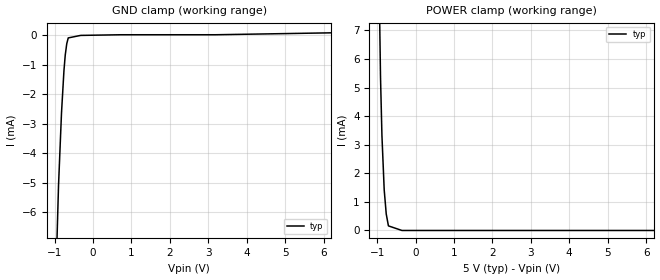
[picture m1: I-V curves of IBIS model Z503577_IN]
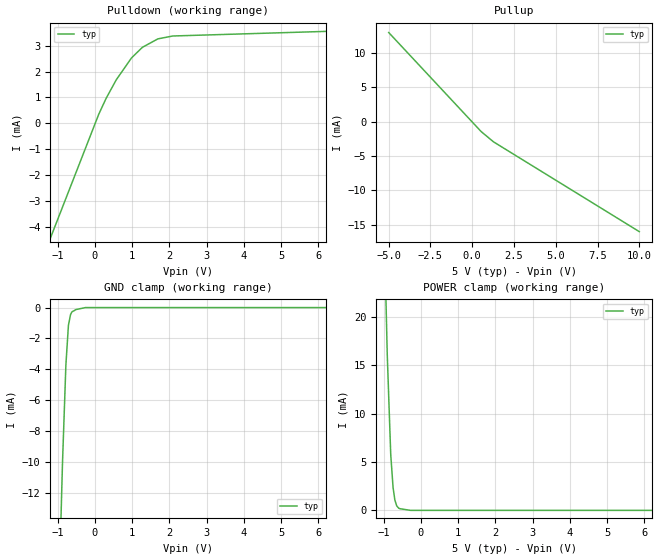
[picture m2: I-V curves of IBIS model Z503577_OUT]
| YOU ARE ONLY AUTHORIZED TO USE THIS SOFTWARE
| ACCORDING TO LICENSOR'S LICENSE RESTRICTIONS.
[IBIS Ver] 3.1
[File Name] mc14093bcp.ibs
[File Rev] 2.0
[Source] Measured and created by ICX Technology
[Date] Friday 7/14/00 9:07:53 AM
[Copyright]
| (C) COPYRIGHT 1993-2000
| MENTOR GRAPHICS CORPORATION
| ICX STANDARD LIBRARY, ICX PROJECT MODELING,
| ICX CUSTOM MODELING, ICX VENDOR MODEL
| ALL RIGHTS RESERVED.
| THE FOLLOWING ARE TRADEMARKS OR SERVICE MARKS OF
| MENTOR GRAPHICS CORPORATION:ICX (R), ICX STANDARD
| LIBRARY(R), ICX PROJECT MODELING(R), ICX CUSTOM
| MODELING(R), qualityIBIS(TM), MODELVIEWER(TM),
| AND MODELEDITOR(TM)
| ALL COPIES OF SOFTWARE, INCLUDING BUT NOT LIMITED TO
| ANY MODIFICATIONS, ENHANCEMENTS OR DERIVATIVE WORKS,
| MUST CONTAIN ALL MENTOR GRAPHICS CORPORATION'S
| NOTICES AND LEGENDS, INCLUDING THOSE EMBEDDED IN
| SOFTWARE AND THOSE AFFIXED TO SOFTWARE MEDIUM
| AND CONTAINER, AS RECEIVED FROM MENTOR GRAPHICS
| CORPORATION.
|  ZAP Model Builder 2.7
[Component] MC14093BCP
[Manufacturer] OnSemiconductor
[Package]
| variable   typ   min   max
R_pkg  .21ohms NA NA
L_pkg  4.543nH NA NA
C_pkg  1.059pF NA NA
[Pin] signal_name  model_name  R_pin  L_pin C_pin
1 IN1A Z503577_IN .22 6.757n 1.432p
2 IN2A Z503577_IN .212 4.757n 1.142p
3 OUTA Z503577_OUT .204 3.257n .852p
4 OUTB Z503577_OUT .196 2.257n .562p
5 IN1B Z503577_IN .204 3.257n .852p
6 IN2B Z503577_IN .212 4.757n 1.142p
7 VSS POWER .22 6.757n 1.432p
8 IN1C Z503577_IN .22 6.757n 1.432p
9 IN2C Z503577_IN .212 4.757n 1.142p
10 OUTC Z503577_OUT .204 3.257n .852p
11 OUTD Z503577_OUT .196 2.257n .562p
12 IN1D Z503577_IN .204 3.257n .852p
13 IN2D Z503577_IN .212 4.757n 1.142p
14 VDD POWER .22 6.757n 1.432p
| Models and submodels in the file (2): Z503577_IN (Input), Z503577_OUT (Output)
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| (C) COPYRIGHT 1993-2000
| MENTOR GRAPHICS CORPORATION
| ICX STANDARD LIBRARY, ICX PROJECT MODELING,
| ICX CUSTOM MODELING, ICX VENDOR MODEL
| ALL RIGHTS RESERVED.
| THE FOLLOWING ARE TRADEMARKS OR SERVICE MARKS OF
| MENTOR GRAPHICS CORPORATION:ICX (R), ICX STANDARD
| LIBRARY(R), ICX PROJECT MODELING(R), ICX CUSTOM
| MODELING(R), qualityIBIS(TM), MODELVIEWER(TM),
| AND MODELEDITOR(TM)
| ALL COPIES OF SOFTWARE, INCLUDING BUT NOT LIMITED TO
| ANY MODIFICATIONS, ENHANCEMENTS OR DERIVATIVE WORKS,
| MUST CONTAIN ALL MENTOR GRAPHICS CORPORATION'S
| NOTICES AND LEGENDS, INCLUDING THOSE EMBEDDED IN
| SOFTWARE AND THOSE AFFIXED TO SOFTWARE MEDIUM
| AND CONTAINER, AS RECEIVED FROM MENTOR GRAPHICS
| CORPORATION.
| Model Application Version 1.89 2/18/99.
[Model] Z503577_IN
Model_type Input
Vinl = 1.500V
Vinh = 3.500V
C_comp 4.000pF NA NA
| variable typ   min   max
[Voltage Range] 5.000V NA NA
[GND Clamp Reference] 0.000V NA NA
[POWER Clamp Reference] 5.000V NA NA
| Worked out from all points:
|   GND clamp passes 1 mA (typ) near -0.74 V on its own axis
|   POWER clamp passes 1 mA (typ) near -0.79 V on its own axis
[GND Clamp]
-5V       -241.8mA   NA         NA
-1.034V   -11.35mA   NA         NA
-897.6mV  -5.093mA   NA         NA
-820.3mV  -2.641mA   NA         NA
-756.8mV  -1.209mA   NA         NA
-722.7mV  -674.2uA   NA         NA
-683.6mV  -291.1uA   NA         NA
-644.6mV  -92.47uA   NA         NA
-322.3mV  -7.321uA   NA         NA
724.2mV   14.8uA     NA         NA
3.187V    14.8uA     NA         NA
10V       162.1uA    NA         NA
[POWER Clamp]
-5V       570.3mA    NA         NA
-1.006V   13.96mA    NA         NA
-911mV    5.38mA     NA         NA
-874mV    3.329mA    NA         NA
-815mV    1.424mA    NA         NA
-762mV    577.9uA    NA         NA
-705mV    160.6uA    NA         NA
-352.5mV  0A         NA         NA
10V       0A         NA         NA
| (C) COPYRIGHT 1993-2000
| MENTOR GRAPHICS CORPORATION
| ICX STANDARD LIBRARY, ICX PROJECT MODELING,
| ICX CUSTOM MODELING, ICX VENDOR MODEL
| ALL RIGHTS RESERVED.
| THE FOLLOWING ARE TRADEMARKS OR SERVICE MARKS OF
| MENTOR GRAPHICS CORPORATION:ICX (R), ICX STANDARD
| LIBRARY(R), ICX PROJECT MODELING(R), ICX CUSTOM
| MODELING(R), qualityIBIS(TM), MODELVIEWER(TM),
| AND MODELEDITOR(TM)
| ALL COPIES OF SOFTWARE, INCLUDING BUT NOT LIMITED TO
| ANY MODIFICATIONS, ENHANCEMENTS OR DERIVATIVE WORKS,
| MUST CONTAIN ALL MENTOR GRAPHICS CORPORATION'S
| NOTICES AND LEGENDS, INCLUDING THOSE EMBEDDED IN
| SOFTWARE AND THOSE AFFIXED TO SOFTWARE MEDIUM
| AND CONTAINER, AS RECEIVED FROM MENTOR GRAPHICS
| CORPORATION.
| Model Application Version 1.89 2/18/99.
[Model] Z503577_OUT
Model_type Output
Vref=0.000V
Rref=500.0Mohms
Cref=50.00pF
Vmeas=2.500V
C_comp 8.000pF NA NA
| variable typ   min   max
[Voltage Range] 5.000V NA NA
[POWER Clamp Reference] 5.000V NA NA
[Pullup Reference] 5.000V NA NA
[Pulldown Reference] 0.000V NA NA
[GND Clamp Reference] 0.000V NA NA
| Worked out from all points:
|   slope of the pulldown table from 0 to 0.75 V, typ, clamps not added: 362 ohm
|   slope of the pullup table from 0 to 0.75 V, typ, clamps not added: 409 ohm
|   GND clamp passes 1 mA (typ) near -0.70 V on its own axis
|   POWER clamp passes 1 mA (typ) near -0.69 V on its own axis
[GND Clamp]
-5V       -374mA     NA         NA
-872.4mV  -10.12mA   NA         NA
-780.9mV  -3.716mA   NA         NA
-712.4mV  -1.143mA   NA         NA
-656.2mV  -457.7uA   NA         NA
-620.1mV  -283.5uA   NA         NA
-508.7mV  -128.7uA   NA         NA
-254.4mV  0A         NA         NA
10V       0A         NA         NA
[Pulldown]
-5V       -18.43mA   NA         NA
102.8mV   358.8uA    NA         NA
297.9mV   962.4uA    NA         NA
571.6mV   1.683mA    NA         NA
981.7mV   2.528mA    NA         NA
1.274V    2.937mA    NA         NA
1.689V    3.262mA    NA         NA
2.089V    3.373mA    NA         NA
10V       3.715mA    NA         NA
[Pullup]
-5V       13.01mA    NA         NA
533mV     -1.438mA   NA         NA
1.271V    -2.935mA   NA         NA
10V       -16.04mA   NA         NA
[POWER Clamp]
-5V       683.1mA    NA         NA
-903mV    16.15mA    NA         NA
-810mV    5.84mA     NA         NA
-747mV    2.363mA    NA         NA
-699mV    1.08mA     NA         NA
-649mV    465.2uA    NA         NA
-595mV    225.3uA    NA         NA
-557mV    167.5uA    NA         NA
-278.5mV  0A         NA         NA
10V       0A         NA         NA
[Ramp]
| variable typ min max
dV/dt_r 2.591/24.10n NA NA
dV/dt_f 2.591/33.85n NA NA
R_load = 2.500kOhms
